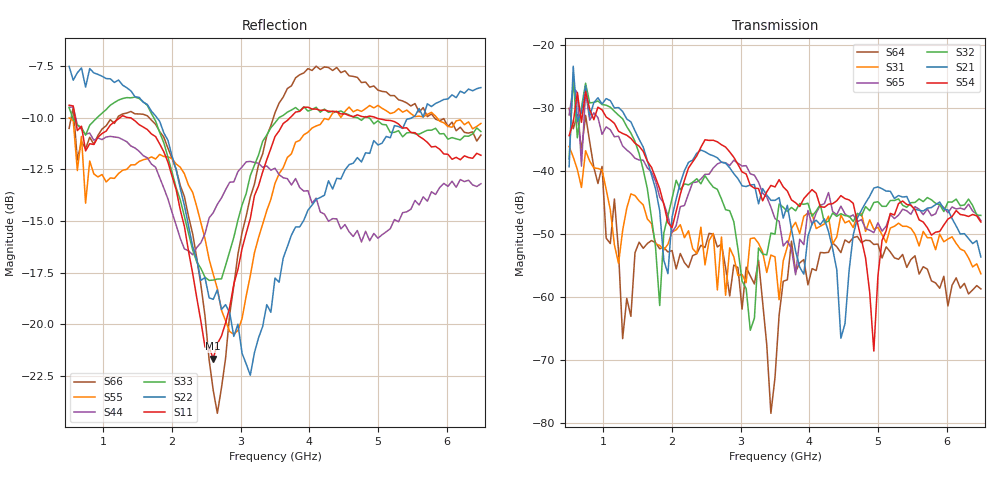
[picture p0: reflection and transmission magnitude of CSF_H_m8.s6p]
!Keysight Technologies,M9804A,MY58100912,A.14.10.03
!Date: Thursday, April 27, 2023 10:28:33
!Correction: S11(C  6-Port  )
!S12(C  6-Port  )
!S13(C  6-Port  )
!S14(C  6-Port  )
!S15(C  6-Port  )
!S16(C  6-Port  )
!S21(C  6-Port  )
!S22(C  6-Port  )
!S23(C  6-Port  )
!S24(C  6-Port  )
!S25(C  6-Port  )
!S26(C  6-Port  )
!S31(C  6-Port  )
!S32(C  6-Port  )
!S33(C  6-Port  )
!S34(C  6-Port  )
!S35(C  6-Port  )
!S36(C  6-Port  )
!S41(C  6-Port  )
!S42(C  6-Port  )
!S43(C  6-Port  )
!S44(C  6-Port  )
!S45(C  6-Port  )
!S46(C  6-Port  )
!S51(C  6-Port  )
!S52(C  6-Port  )
!S53(C  6-Port  )
!S54(C  6-Port  )
!S55(C  6-Port  )
!S56(C  6-Port  )
!S61(C  6-Port  )
!S62(C  6-Port  )
!S63(C  6-Port  )
!S64(C  6-Port  )
!S65(C  6-Port  )
!S66(C  6-Port  )
!S6P File: Measurement: :
# Hz S  RI  R 50
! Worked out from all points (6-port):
!   101 points, 500 MHz to 6.5 GHz, reference 50 ohm
!   strongest paths, dB at 500 MHz, 2 GHz, 3.5 GHz, 5 GHz, 6.5 GHz:
!     S54: -34.3, -48.9, -42.5, -56.6, -48.1
!     S21: -39.3, -47.2, -44.6, -42.5, -53.6
!     S32: -38.0, -44.3, -50.0, -44.8, -47.0
!     S65: -31.0, -49.7, -47.5, -48.2, -47.8
!     S31: -36.0, -49.6, -53.6, -48.9, -56.3
!     S64: -30.0, -52.6, -72.7, -51.5, -58.7
!   lowest |S11| = -21.7 dB at 2.6 GHz (marker M1), VSWR 1.18, Z = 42.6 + j2.02 ohm
!   |S11| at or under -10 dB: 589.1 MHz to 1.237 GHz (647.6 MHz wide, 70.9 % of centre); 1.401 GHz to 3.717 GHz (2.316 GHz wide, 90.5 % of centre); 4.976 GHz to end of sweep
